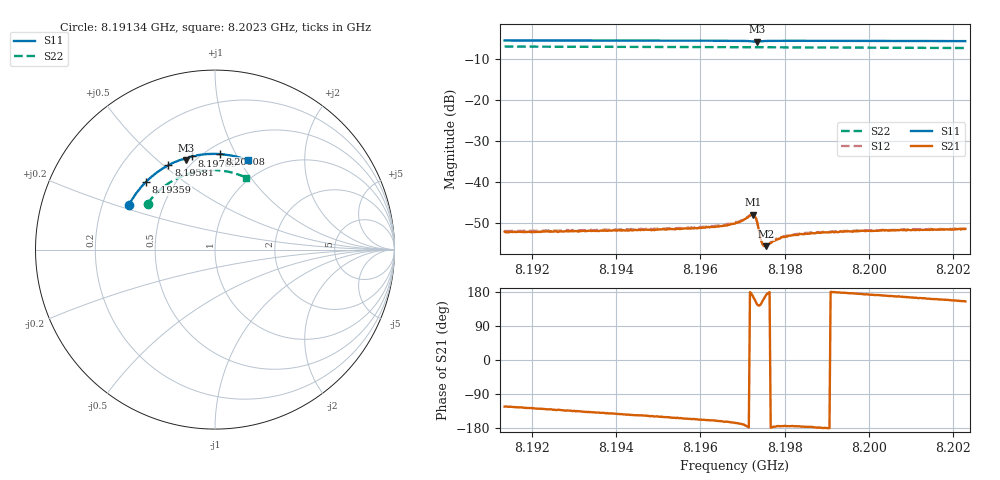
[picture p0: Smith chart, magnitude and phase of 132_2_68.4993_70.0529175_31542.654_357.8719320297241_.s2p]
#  HZ  S  RI  R  50.00
! Rohde & Schwarz Vector Network Analyzer
! Rohde-Schwarz,ZNB20-2Port,1311601062101988,3.16
! Created: UTC 3/20/2024, 5:09:39 PM
! freq[Hz]  re:S11  im:S11  re:S21  im:S21  re:S12  im:S12  re:S22  im:S22
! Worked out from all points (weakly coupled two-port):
!   401 points, 8.19134 GHz to 8.2023 GHz, reference 50 ohm
!   highest |S21| = -47.98 dB at 8.19726 GHz (marker M1); lowest = -55.7 dB at 8.19756 GHz (marker M2)
!   lowest |S11| = -5.7 dB at 8.19734 GHz (marker M3), VSWR 3.18, Z = 22.9 + j31.3 ohm
!   |S11| at or under -10 dB: nowhere
!   |S22| runs from -7.2 to -6.8 dB; largest |S21 - S12| = 0.00021
!   S11 on the Smith chart (normalised r, x): 8.19134 GHz: 0.31, +0.22; 8.19359 GHz: 0.34, +0.37; 8.19581 GHz: 0.39, +0.52; 8.19789 GHz: 0.46, +0.67; 8.20008 GHz: 0.58, +0.87; 8.2023 GHz: 0.78, +1.09
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8.191343e9  -0.4784 0.2507  -0.00135 -0.00208  -0.00143 -0.0021  -0.3758 0.256
8.193178e9  -0.4046 0.3561  -0.0018 -0.00177  -0.00194 -0.00173  -0.3073 0.3318
8.193589e9  -0.3848 0.3772  -0.00189 -0.00166  -0.00203 -0.00166  -0.2898 0.3466
8.195013e9  -0.3074 0.4412  -0.00228 -0.00133  -0.00237 -0.00131  -0.2234 0.3904
8.195807e9  -0.2593 0.4703  -0.00249 -0.00111  -0.00258 -0.00104  -0.1831 0.4095
8.196382e9  -0.2224 0.4883  -0.00268 -0.000952  -0.00282 -0.000858  -0.1529 0.4208
8.19682e9  -0.1921 0.4998  -0.00302 -0.000755  -0.00312 -0.000674  -0.1292 0.4279
8.196957e9  -0.182 0.5026  -0.00326 -0.000658  -0.00335 -0.000542  -0.1217 0.4298
8.197204e9  -0.1612 0.5028  -0.00396 0.000312  -0.004 0.000458  -0.1081 0.4328
8.197259e9  -0.1578 0.5001  -0.00386 0.00102  -0.0039 0.00115  -0.1049 0.4332
8.197286e9  -0.1574 0.4985  -0.00365 0.00132  -0.00365 0.00154  -0.1036 0.4336
8.197341e9  -0.1588 0.4968  -0.0028 0.00178  -0.00278 0.00191  -0.1006 0.4341
8.19745e9  -0.1586 0.5041  -0.00162 0.000933  -0.00161 0.00102  -0.0946 0.4355
8.197505e9  -0.1556 0.5077  -0.00158 0.00053  -0.00154 0.000587  -0.0917 0.4359
8.19756e9  -0.1515 0.5105  -0.00163 0.000241  -0.00167 0.000327  -0.0886 0.4368
8.197752e9  -0.1369 0.5166  -0.00191 -0.00013  -0.00193 -2.81e-05  -0.0778 0.4386
8.197888e9  -0.1268 0.5195  -0.00203 -0.000175  -0.00212 -0.000157  -0.0703 0.4396
8.198162e9  -0.107 0.5242  -0.00222 -0.000214  -0.00225 -0.000121  -0.0549 0.4413
8.198655e9  -0.0718 0.5298  -0.00238 -0.000134  -0.00242 -1.3e-05  -0.0268 0.4429
8.200079e9  0.029 0.5323  -0.0025 0.000354  -0.00251 0.000456  0.0539 0.4377
8.20049e9  0.058 0.5294  -0.00253 0.000512  -0.00254 0.000598  0.0768 0.4336
8.202297e9  0.1816 0.4981  -0.00243 0.00114  -0.00241 0.00123  0.1745 0.4004
